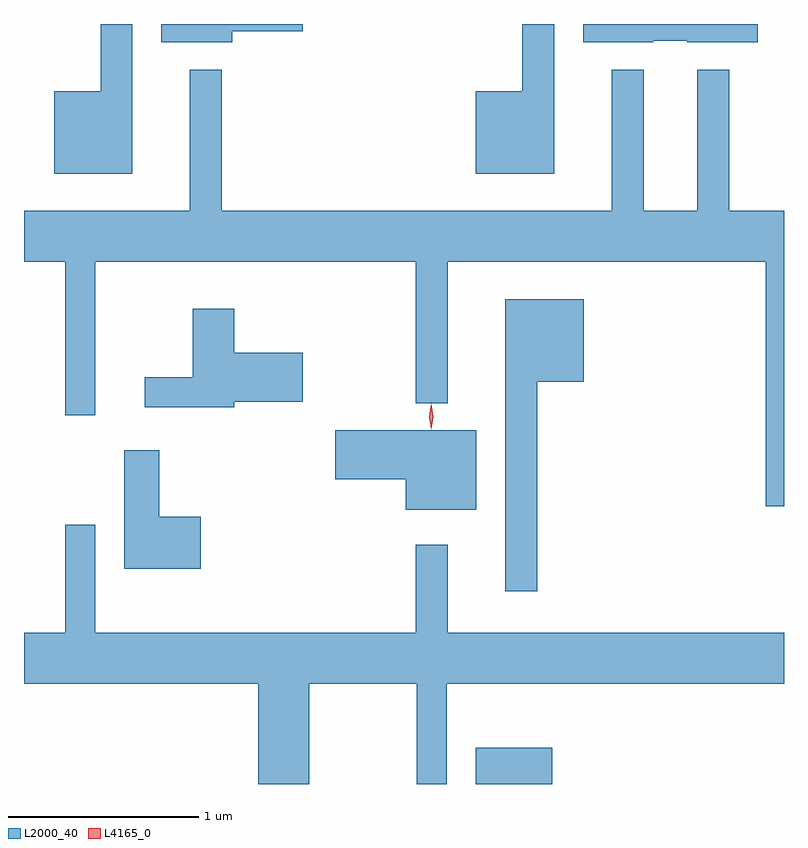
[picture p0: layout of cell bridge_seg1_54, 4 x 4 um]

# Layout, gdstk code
import gdstk
lib = gdstk.Library(unit=1e-6, precision=1e-09)
def R(c, l, rs):  # rectangles x0, y0, x1, y1
    for r in rs: c.add(gdstk.rectangle(r[:2], r[2:], *l))
def P(c, l, *ps):  # polygons
    for p in ps: c.add(gdstk.Polygon(p, *l))
L2000_40 = (2000, 40)
L4165_0 = (4165, 0)

bridge_seg1_54 = lib.new_cell('bridge_seg1_54')
R(bridge_seg1_54, L2000_40, [(1908.416,841.328,1908.819,841.519)])
P(bridge_seg1_54, L2000_40, [(1906.609,845.328),(1906.441,845.328),(1906.441,844.974),(1906.196,844.974),(1906.196,844.541),(1906.609,844.541)],
  [(1908.829,845.328),(1908.661,845.328),(1908.661,844.974),(1908.416,844.974),(1908.416,844.541),(1908.829,844.541)],
  [(1909.35,845.241),(1909.53,845.241),(1909.53,845.231),(1909.899,845.231),(1909.899,845.328),(1908.981,845.328),(1908.981,845.231),(1909.35,845.231)],
  [(1907.134,845.291),(1907.504,845.291),(1907.504,845.328),(1906.761,845.328),(1906.761,845.231),(1907.134,845.231)],
  [(1910.038,844.344),(1909.749,844.344),(1909.749,845.088),(1909.581,845.088),(1909.581,844.344),(1909.299,844.344),(1909.299,845.088),(1909.131,845.088),(1909.131,844.344),(1907.079,844.344),(1907.079,845.088),(1906.911,845.088),(1906.911,844.344),(1906.038,844.344),(1906.038,844.076),(1906.256,844.076),(1906.256,843.268),(1906.414,843.268),(1906.414,844.076),(1908.101,844.076),(1908.101,843.333),(1908.269,843.333),(1908.269,844.076),(1909.941,844.076),(1909.941,842.791),(1910.038,842.791)],
  [(1908.739,843.446),(1908.984,843.446),(1908.984,843.879),(1908.571,843.879),(1908.571,842.343),(1908.739,842.343)],
  [(1907.144,843.341),(1907.504,843.341),(1907.504,843.599),(1907.144,843.599),(1907.144,843.829),(1906.926,843.829),(1906.926,843.469),(1906.673,843.469),(1906.673,843.311),(1907.144,843.311)],
  [(1908.419,843.189),(1907.676,843.189),(1907.676,842.931),(1908.046,842.931),(1908.046,842.771),(1908.419,842.771)],
  [(1906.969,842.734),(1906.749,842.734),(1906.749,843.084),(1906.566,843.084),(1906.566,842.461),(1906.969,842.461)],
  [(1907.539,841.856),(1908.106,841.856),(1908.106,841.328),(1908.264,841.328),(1908.264,841.856),(1910.038,841.856),(1910.038,842.124),(1908.269,842.124),(1908.269,842.588),(1908.101,842.588),(1908.101,842.124),(1906.414,842.124),(1906.414,842.693),(1906.256,842.693),(1906.256,842.124),(1906.038,842.124),(1906.038,841.856),(1907.271,841.856),(1907.271,841.328),(1907.539,841.328)])
P(bridge_seg1_54, L4165_0, [(1908.181,843.194),(1908.172,843.262),(1908.181,843.33),(1908.182,843.33),(1908.182,843.33),(1908.192,843.262),(1908.182,843.194),(1908.182,843.194)],
  [(1908.182,843.2),(1908.181,843.201),(1908.172,843.263),(1908.181,843.326),(1908.182,843.327),(1908.182,843.326),(1908.192,843.263),(1908.182,843.201)])

lib.write_gds('bridge_seg1_54.gds')
